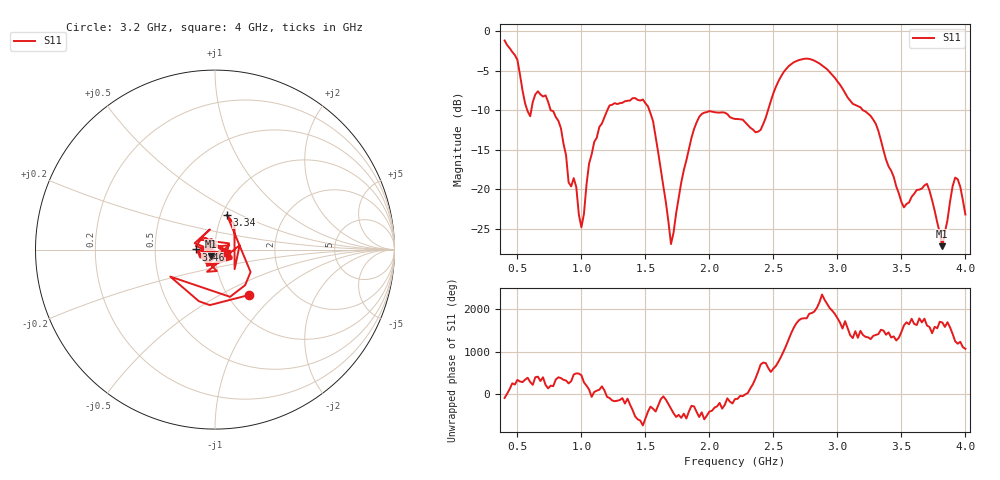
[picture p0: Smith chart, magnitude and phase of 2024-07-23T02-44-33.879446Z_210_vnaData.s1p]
!Created with skrf (http://scikit-rf.org).
# Hz S RI R 50.0
!freq ReS11 ImS11
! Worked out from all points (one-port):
!   181 points, 400 MHz to 4 GHz, reference 50 ohm
!   lowest |S11| = -27.2 dB at 3.82 GHz (marker M1), VSWR 1.09, Z = 47.8 - j3.65 ohm
!   |S11| at or under -10 dB: 760 MHz to 1.202 GHz (442.1 MHz wide, 45.1 % of centre); 1.531 GHz to 2.457 GHz (926.3 MHz wide, 46.4 % of centre); 3.201 GHz to end of sweep (the widest 3 of 4)
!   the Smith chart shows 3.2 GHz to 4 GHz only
!   S11 on the Smith chart (normalised r, x): 3.2 GHz: 1.25, -0.70; 3.34 GHz: 1.05, +0.43; 3.46 GHz: 0.81, +0.00; 4 GHz: 1.14, -0.04
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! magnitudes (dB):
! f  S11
! 400 MHz  -1.1
! 500 MHz  -3.6
! 600 MHz  -10.7
! 720 MHz  -8.1
! 860 MHz  -14.2
! 900 MHz  -19.1
! 960 MHz  -19.7
! 1 GHz  -24.8
! 1.1 GHz  -14.0
! 1.3 GHz  -9.1
! 1.52 GHz  -9.5
! 1.56 GHz  -11.4
! 1.7 GHz  -26.9
! 1.76 GHz  -21.1
! 1.92 GHz  -10.8
! 2.2 GHz  -11.1
! 2.4 GHz  -12.5
! 2.66 GHz  -3.9
! 2.86 GHz  -4.1
! 3.1 GHz  -8.8
! 3.2 GHz  -10.0
! 3.34 GHz  -13.8
! 3.46 GHz  -19.6
! 3.56 GHz  -21.7
! 3.7 GHz  -19.3
! 3.82 GHz  -27.2
! 3.92 GHz  -18.5
! 4 GHz  -23.2
